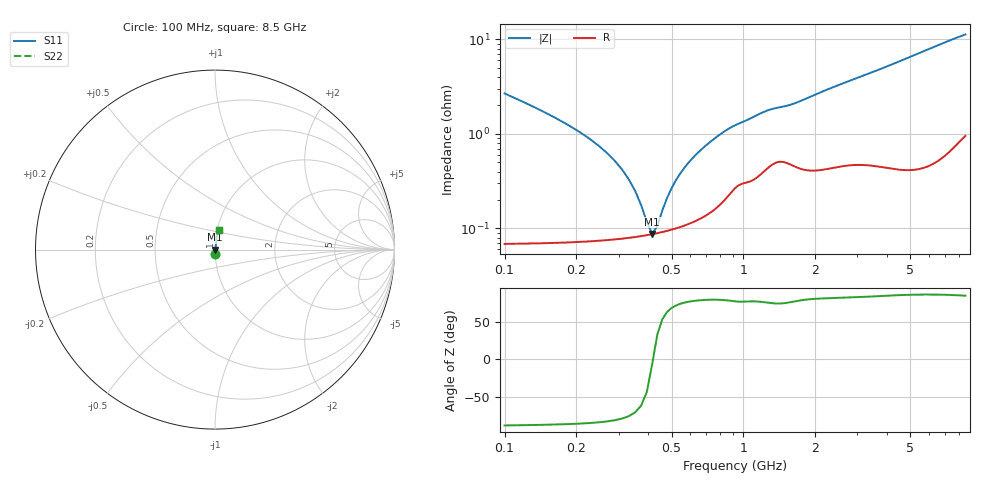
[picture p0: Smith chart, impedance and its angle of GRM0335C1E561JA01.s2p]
!Murata Part Number: GRM0335C1E561JA01
!These Parameters are Measured in Series Mode Connection
!Data Generated on Mar 30, 2021
!  o--ll--o
!Port1  Port2
!  o------o
!Operation Temp=25[degC], DC Bias Voltage=0[V]
!Freq. Start=100[MHz] Stop=9[GHz] 401[Steps]
# Hz S RI R 50
!Freq.(Hz) S11(Real) S11(Imag) S21(Real) S21(Imag) S12(Real) S12(Imag) S22(Real) S22(Imag)
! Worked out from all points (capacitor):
!   401 points, 100 MHz to 8.5 GHz, reference 50 ohm
!   read as one part in series: C = 559 pF near 142 MHz
!   lowest |Z| = 87.3 mohm at 415 MHz (marker M1)
!   series resonance near 418 MHz, so ESL is about 260 pH
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1e8  0.0014 -0.0267  0.9986 0.0267  0.9986 0.0267  0.0014 -0.0267
1.42e8  0.00101 -0.0177  0.999 0.0177  0.999 0.0177  0.00101 -0.0177
2.68e8  0.000789 -0.00625  0.9992 0.00625  0.9992 0.00625  0.000789 -0.00625
3.31e8  0.000803 -0.00321  0.9992 0.00321  0.9992 0.00321  0.000803 -0.00321
3.73e8  0.00083 -0.00156  0.9992 0.00156  0.9992 0.00156  0.00083 -0.00156
3.94e8  0.000847 -0.000806  0.9992 0.000806  0.9992 0.000806  0.000847 -0.000806
4.15e8  0.000867 -9.57e-05  0.9991 9.57e-05  0.9991 9.57e-05  0.000867 -9.57e-05
4.36e8  0.000889 0.00058  0.9991 -0.00058  0.9991 -0.00058  0.000889 0.00058
4.57e8  0.000914 0.00123  0.9991 -0.00123  0.9991 -0.00123  0.000914 0.00123
5.2e8  0.00101 0.00303  0.999 -0.00303  0.999 -0.00303  0.00101 0.00303
5.62e8  0.00108 0.00414  0.9989 -0.00414  0.9989 -0.00414  0.00108 0.00414
6.46e8  0.00127 0.00622  0.9987 -0.00622  0.9987 -0.00622  0.00127 0.00622
7.51e8  0.00163 0.00865  0.9984 -0.00865  0.9984 -0.00865  0.00163 0.00865
8.98e8  0.00261 0.0116  0.9974 -0.0116  0.9974 -0.0116  0.00261 0.0116
1.15e9  0.00375 0.0155  0.9963 -0.0155  0.9963 -0.0155  0.00375 0.0155
1.507e9  0.00529 0.0189  0.9947 -0.0189  0.9947 -0.0189  0.00529 0.0189
2.221e9  0.00504 0.0286  0.995 -0.0286  0.995 -0.0286  0.00504 0.0286
2.914e9  0.00607 0.0374  0.9939 -0.0374  0.9939 -0.0374  0.00607 0.0374
4.3e9  0.00728 0.0552  0.9927 -0.0552  0.9927 -0.0552  0.00728 0.0552
5.707e9  0.00993 0.0742  0.9901 -0.0742  0.9901 -0.0742  0.00993 0.0742
7.114e9  0.0148 0.0929  0.9852 -0.0929  0.9852 -0.0929  0.0148 0.0929
8.5e9  0.0216 0.109  0.9784 -0.109  0.9784 -0.109  0.0216 0.109
